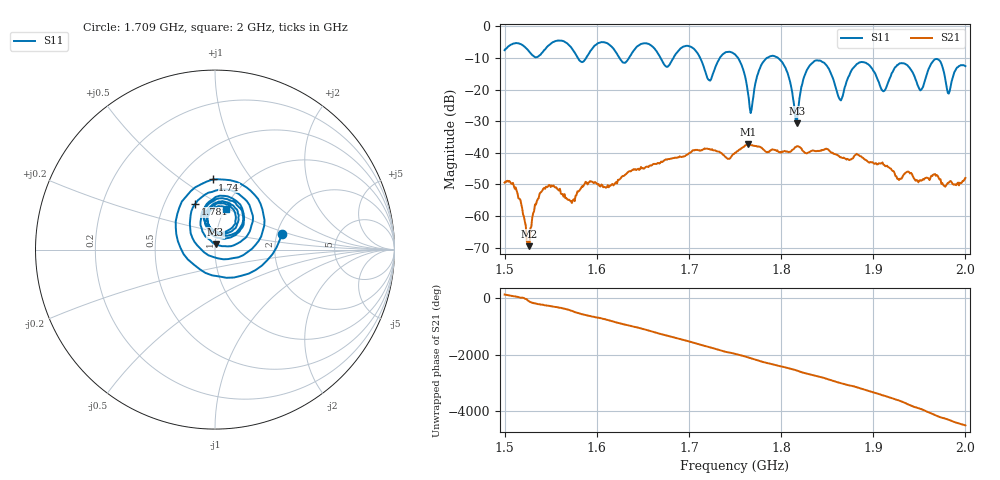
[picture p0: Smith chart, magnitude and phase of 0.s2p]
! NanoVNA-App by SYSJOINT et al v1.1.209 (+OD18)
! Date: 2026-01-21 14:25:47
! Start: 1,5GHz Stop: 2GHz Points: 501
! S-Parameter data: F S11 S21 S12 S22
# Hz S RI R 50
!  Frequency  S11_Real  S11_Imag  S21_Real  S21_Imag  S12_Real  S12_Imag  S22_Real  S22_Imag
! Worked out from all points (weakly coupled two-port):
!   501 points, 1.5 GHz to 2 GHz, reference 50 ohm
!   highest |S21| = -37.34 dB at 1.764 GHz (marker M1); lowest = -69.5 dB at 1.527 GHz (marker M2)
!   lowest |S11| = -30.7 dB at 1.817 GHz (marker M3), VSWR 1.06, Z = 50.2 + j2.91 ohm
!   |S11| at or under -10 dB: 1.712 GHz to 1.734 GHz (21.34 MHz wide, 1.24 % of centre); 1.753 GHz to 1.785 GHz (31.34 MHz wide, 1.77 % of centre); 1.797 GHz to end of sweep (the widest 3 of 6)
!   S12 and S22 are empty: the file has one direction only
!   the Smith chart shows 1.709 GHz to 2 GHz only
!   S11 on the Smith chart (normalised r, x): 1.709 GHz: 2.13, +0.44; 1.74 GHz: 0.72, +0.66; 1.781 GHz: 0.71, +0.39; 2 GHz: 1.01, +0.49
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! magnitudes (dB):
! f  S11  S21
! 1.5 GHz  -7.5  -49.4
! 1.527 GHz  -8.1  -69.5
! 1.543 GHz  -7.5  -51.0
! 1.584 GHz  -11.3  -50.6
! 1.667 GHz  -8.9  -43.3
! 1.709 GHz  -8.3  -39.1
! 1.722 GHz  -17.0  -38.8
! 1.74 GHz  -8.2  -41.4
! 1.75 GHz  -8.9  -40.0
! 1.764 GHz  -20.8  -37.3
! 1.781 GHz  -11.1  -39.0
! 1.803 GHz  -12.3  -39.5
! 1.817 GHz  -30.7  -37.9
! 1.834 GHz  -11.6  -39.3
! 1.864 GHz  -23.2  -41.4
! 1.885 GHz  -11.4  -40.9
! 1.917 GHz  -17.1  -44.6
! 1.933 GHz  -11.7  -46.9
! 1.952 GHz  -20.1  -48.8
! 1.969 GHz  -10.3  -47.0
! 1.982 GHz  -21.3  -49.4
! 2 GHz  -12.6  -47.9
